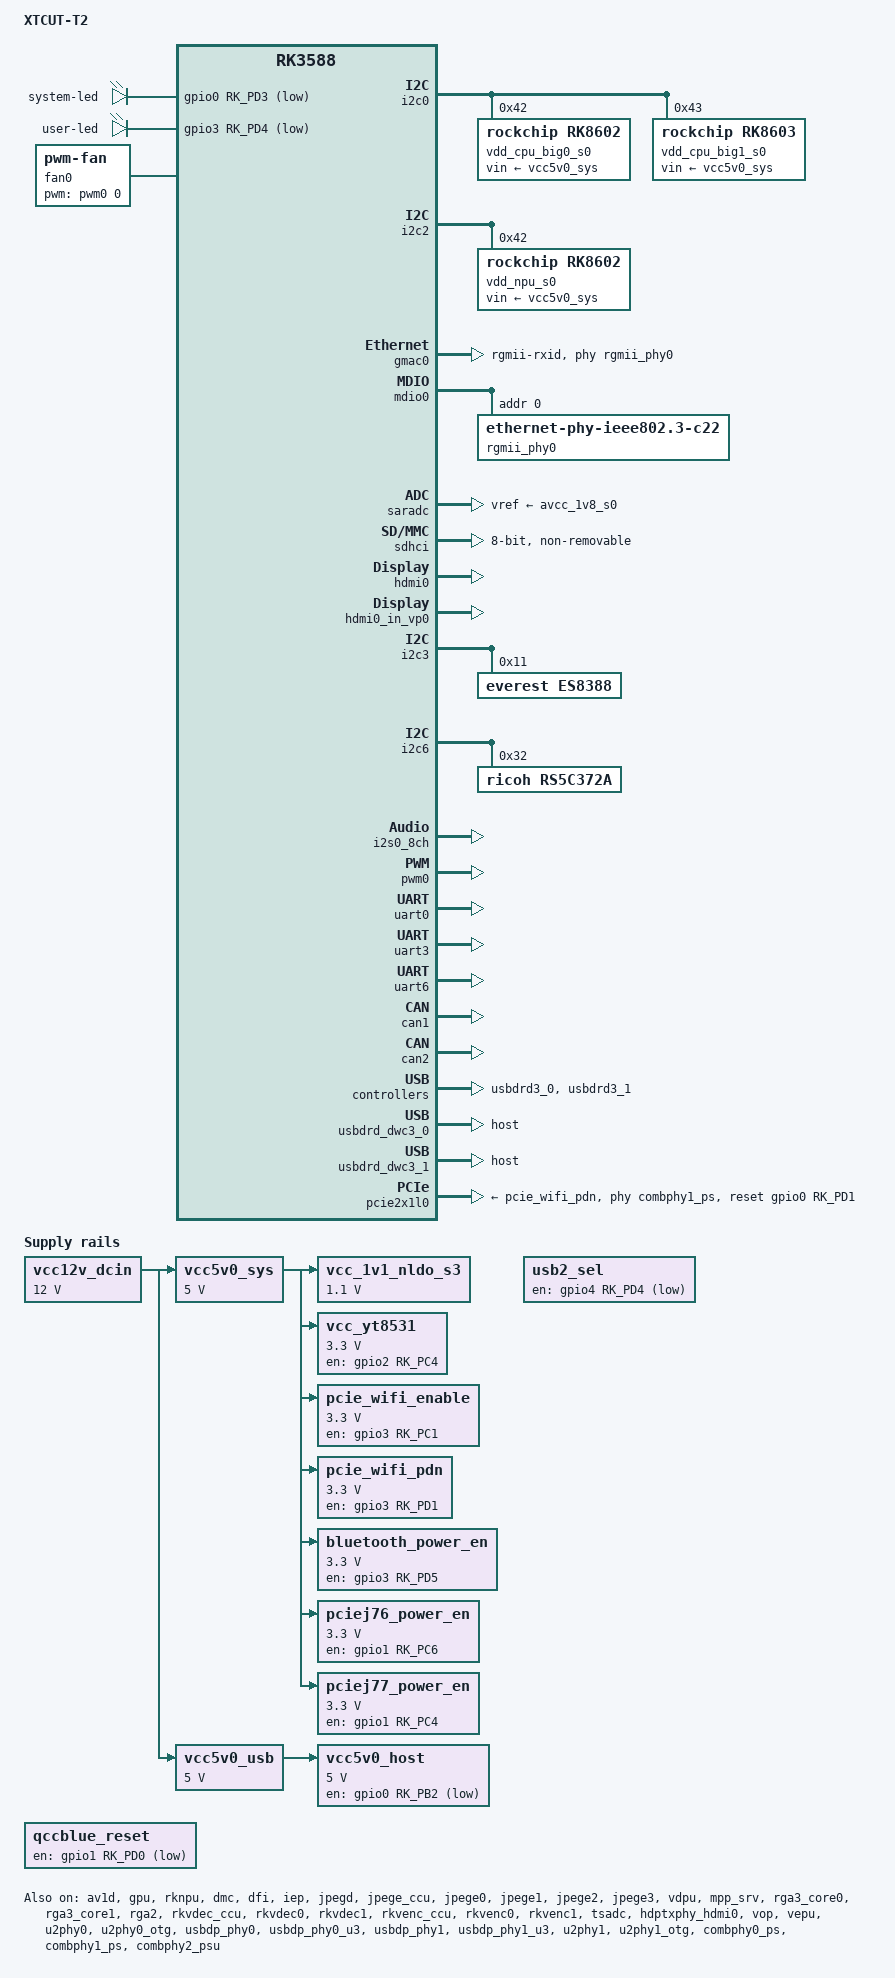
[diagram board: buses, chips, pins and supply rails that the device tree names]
// SPDX-License-Identifier: (GPL-2.0+ OR MIT)
/*
 * Copyright (c) 2021 Rockchip Electronics Co., Ltd.
 * Copyright (c) 2023 Thomas McKahan
 * Modify by dy008
 */

/dts-v1/;

#include <dt-bindings/gpio/gpio.h>
#include <dt-bindings/leds/common.h>
#include <dt-bindings/pwm/pwm.h>
#include <dt-bindings/pinctrl/rockchip.h>
#include <dt-bindings/input/rk-input.h>
#include <dt-bindings/display/drm_mipi_dsi.h>
#include <dt-bindings/display/rockchip_vop.h>
#include <dt-bindings/sensor-dev.h>
#include <dt-bindings/usb/pd.h>
#include "rk3588j.dtsi"
#include "rk3588s.dtsi"
#include "rk3588-rk806-single.dtsi"
#include "rk3588-android.dtsi"

/ {
	model = "XTCUT-T2";
	compatible = "xtcu,t2", "rockchip,rk3588";

	aliases {
		mmc0 = &sdhci;
		mmc1 = &sdmmc;
		eth0 = &gmac0;
		eth1 = &gmac1;
	};

	leds {
		compatible = "gpio-leds";
		pinctrl-names = "default";

		sys_led: led-0 {
			// red led
			gpios = <&gpio0 RK_PD3 GPIO_ACTIVE_LOW>;
			label = "system-led";
			linux,default-trigger = "heartbeat";
			default-state = "on";
			pinctrl-0 = <&sys_led_pin>;
		};

		usr_led: led-1 {
			// red led
			gpios = <&gpio3 RK_PD4 GPIO_ACTIVE_LOW>;
			label = "user-led";
            default-state = "on";
			pinctrl-0 = <&usr_led_pin>;
		};
	};

	vcc12v_dcin: vcc12v-dcin{
		compatible = "regulator-fixed";
		regulator-name = "vcc12v_dcin";
		regulator-always-on;
		regulator-boot-on;
		regulator-min-microvolt = <12000000>;
		regulator-max-microvolt = <12000000>;
	}; // ok

	/* vcc5v0_sys powers peripherals */
	vcc5v0_sys: vcc5v0-sys {
		compatible = "regulator-fixed";
		regulator-name = "vcc5v0_sys";
		regulator-always-on;
		regulator-boot-on;
		regulator-min-microvolt = <5000000>;
		regulator-max-microvolt = <5000000>;
		vin-supply = <&vcc12v_dcin>;
	}; // ok

	vcc5v0_usb: vcc5v0-usb {
		compatible = "regulator-fixed";
		regulator-name = "vcc5v0_usb";
		regulator-always-on;
		regulator-boot-on;
		regulator-min-microvolt = <0x4c4b40>;
		regulator-max-microvolt = <0x4c4b40>;
		vin-supply = <&vcc12v_dcin>;
	};	// ok

	vcc_1v1_nldo_s3: vcc-1v1-nldo-s3 {
		compatible = "regulator-fixed";
		regulator-name = "vcc-1v1-nldo-s3";
		regulator-always-on;
		regulator-boot-on;
		regulator-min-microvolt = <1100000>;
		regulator-max-microvolt = <1100000>;
		vin-supply = <&vcc5v0_sys>;
	};	// ok

    vcc5v0_host: vcc5v0-host {
        compatible ="regulator-fixed";
        regulator-name ="vcc5v0_host";
        regulator-boot-on;
        regulator-always-on;
        regulator-min-microvolt = <5000000>;
        regulator-max-microvolt = <5000000>;
        gpios = <&gpio0 RK_PB2 GPIO_ACTIVE_LOW>;
        vin-supply = <&vcc5v0_usb>;
        pinctrl-names ="default";
        pinctrl-0 = <&vcc5v0_host_en>;
    };

    vcc_yt8531: yt8531-regulator {
		compatible = "regulator-fixed";
		gpios = <&gpio2 RK_PC4 GPIO_ACTIVE_HIGH>;
		pinctrl-names = "default";
		pinctrl-0 = <&yt8531_pwr>;
		regulator-name = "vcc_yt8531";
		regulator-boot-on;
        enable-active-high;
        regulator-always-on;
		regulator-min-microvolt = <3300000>;
		regulator-max-microvolt = <3300000>;
		vin-supply = <&vcc5v0_sys>;
	};

	// AW-XM458 of NXP 88W9098 PCIE_DISABLEn
	pcie_wifi_enable: pcie-wifi-enable-regulator {
		compatible = "regulator-fixed";
		regulator-name = "PCIE_WLAN_ENABLE;";
		gpios = <&gpio3 RK_PC1 GPIO_ACTIVE_HIGH>;
		pinctrl-names = "default";
		pinctrl-0 = <&pcie_wifi_enable_h>;
		regulator-min-microvolt = <3300000>;
		regulator-max-microvolt = <3300000>;
		regulator-boot-on;
		enable-active-high;
		regulator-always-on;
		vin-supply = <&vcc5v0_sys>;		
	};

	// AW-XM458 of NXP 88W9098 PCIE_PDn
	pcie_wifi_pdn: pcie-wifi-pdn-regulator {
		compatible = "regulator-fixed";
		regulator-name = "PCIE_WLAN_PDN";
		gpios = <&gpio3 RK_PD1 GPIO_ACTIVE_HIGH>;
		pinctrl-names = "default";
		pinctrl-0 = <&pcie_wifi_reset_h>;
		regulator-min-microvolt = <3300000>;
		regulator-max-microvolt = <3300000>;
		enable-active-high;
		regulator-boot-on;
		regulator-always-on;
		vin-supply = <&vcc5v0_sys>;		
	};
	
	// Bluetooth of GOC-Q82008W Power control
	bluetooth_power_en: bluetooth-power-en-regulator {
		compatible = "regulator-fixed";
		regulator-name = "BLUETOOTH_POWER_EN";
		gpios = <&gpio3 RK_PD5 GPIO_ACTIVE_HIGH>;
		pinctrl-names = "default";
		pinctrl-0 = <&bluetooth_power_en_h>;
		regulator-min-microvolt = <3300000>;
		regulator-max-microvolt = <3300000>;
		regulator-boot-on;
		enable-active-high;
		regulator-always-on;
		vin-supply = <&vcc5v0_sys>;		
	};

	pciej76_power_en: pciej76-power-en-regulator {
		compatible = "regulator-fixed";
		regulator-name = "PCIEJ76_POWER_EN";
		gpios = <&gpio1 RK_PC6 GPIO_ACTIVE_HIGH>;
		regulator-min-microvolt = <3300000>;
		regulator-max-microvolt = <3300000>;
		regulator-boot-on;
		enable-active-high;
		regulator-always-on;
		vin-supply = <&vcc5v0_sys>;		
	};

	pciej77_power_en: pciej77-power-en-regulator {
		compatible = "regulator-fixed";
		regulator-name = "PCIEJ77_POWER_EN";
		gpios = <&gpio1 RK_PC4 GPIO_ACTIVE_HIGH>;
		regulator-min-microvolt = <3300000>;
		regulator-max-microvolt = <3300000>;
		regulator-boot-on;
		enable-active-high;
		regulator-always-on;
		vin-supply = <&vcc5v0_sys>;		
	};

	usb2_sel: usb2-sel {
		compatible = "regulator-fixed";
		pinctrl-names = "default";
		pinctrl-0 = <&usb2_sel_h>;
		regulator-name = "USB2_SEL";
		gpios = <&gpio4 RK_PD4 GPIO_ACTIVE_LOW>;
		regulator-boot-on;
		regulator-always-on;
	};

	qccblue_reset: qccblue-reset {
		compatible = "regulator-fixed";
		pinctrl-names = "default";
		pinctrl-0 = <&qccblue_reset_h>;
		regulator-name = "QCC BLUETOOTH";
		gpios = <&gpio1 RK_PD0 GPIO_ACTIVE_LOW>;
		regulator-boot-on;
		regulator-always-on;
	};

	/* wireless_bluetooth: wireless-bluetooth {
		compatible = "bluetooth-platdata";
		uart_rts_gpios = <&gpio1 RK_PA2 GPIO_ACTIVE_LOW>;
		pinctrl-names = "default", "rts_gpio";
		pinctrl-0 = <&uart6m1_rtsn>, <&bt_reset_gpio>;
		pinctrl-1 = <&uart6_gpios>;
		BT,reset_gpio = <&gpio1 RK_PD0 GPIO_ACTIVE_HIGH>;
		status = "okay";
	};	// ok */

	wireless_wlan: wireless-wlan {
		compatible = "wlan-platdata";
		wifi_chip_type = "ap6276p";
		status = "disabled";
	};

	hdmi0_sound: hdmi0-sound {
		status = "disabled";
		compatible = "rockchip,hdmi";
		rockchip,mclk-fs = <128>;
		rockchip,card-name = "rockchip-hdmi0";
		rockchip,cpu = <&i2s5_8ch>;
		rockchip,codec = <&hdmi0>;
		rockchip,jack-det;
	};	// ok

	es8388_sound: es8388-sound {
		status = "okay";
		compatible = "rockchip,multicodecs-card";
		rockchip,card-name = "rockchip-es8388";
		keyup-threshold-microvolt = <1800000>;
		poll-interval = <100>;
		rockchip,format = "i2s";
		rockchip,mclk-fs = <256>;
		rockchip,cpu = <&i2s0_8ch>;
		rockchip,codec = <&es8388>;
		rockchip,audio-routing =
			"Headphone", "LOUT1",
			"Headphone", "ROUT1",
			"Headphone", "Headphone Power",
			"Headphone", "Headphone Power",
			"LINPUT1", "Main Mic",
			"LINPUT2", "Main Mic",
			"RINPUT1", "Headset Mic",
			"RINPUT2", "Headset Mic";
	};

	fan0: pwm-fan {
		compatible = "pwm-fan";
		#cooling-cells = <2>;
		cooling-levels = <72 94 117 139 162 184 207 229 255>;
		pwms = <&pwm0 0 10000 0>;
	};
};

&av1d {
	status = "okay";
};

&av1d_mmu {
	status = "okay";
};

&cpu_l0 {
	cpu-supply = <&vdd_cpu_lit_s0>;
	mem-supply = <&vdd_cpu_lit_mem_s0>;
};

&cpu_b0 {
	cpu-supply = <&vdd_cpu_big0_s0>;
	mem-supply = <&vdd_cpu_big0_mem_s0>;
};

&cpu_b2 {
	cpu-supply = <&vdd_cpu_big1_s0>;
	mem-supply = <&vdd_cpu_big1_mem_s0>;
};

&gpu {
	mali-supply = <&vdd_gpu_s0>;
	mem-supply = <&vdd_gpu_mem_s0>;
	upthreshold = <60>;
	downdifferential = <30>;
	status = "okay";
};

&rknpu {
	rknpu-supply = <&vdd_npu_s0>;
	mem-supply = <&vdd_npu_mem_s0>;
	status = "okay";
};

&rknpu_mmu {
	status = "okay";
};


&dmc {
	center-supply = <&vdd_ddr_s0>;
	mem-supply = <&vdd_log_s0>;
	status = "okay";
};

&dfi {
	status = "okay";
};

&i2c0 {
	status = "okay";
	pinctrl-names = "default";
	pinctrl-0 = <&i2c0m2_xfer>;

	vdd_cpu_big0_s0: vdd_cpu_big0_mem_s0: rk8602@42 {
		compatible = "rockchip,rk8602";
		reg = <0x42>;
		vin-supply = <&vcc5v0_sys>;
		regulator-compatible = "rk860x-reg";
		regulator-name = "vdd_cpu_big0_s0";
		regulator-min-microvolt = <550000>;
		regulator-max-microvolt = <1050000>;
		regulator-ramp-delay = <2300>;
		rockchip,suspend-voltage-selector = <1>;
		regulator-boot-on;
		regulator-always-on;
		regulator-state-mem {
			regulator-off-in-suspend;
		};
	};

	vdd_cpu_big1_s0: vdd_cpu_big1_mem_s0: rk8603@43 {
		compatible = "rockchip,rk8603";
		reg = <0x43>;
		vin-supply = <&vcc5v0_sys>;
		regulator-compatible = "rk860x-reg";
		regulator-name = "vdd_cpu_big1_s0";
		regulator-min-microvolt = <550000>;
		regulator-max-microvolt = <1050000>;
		regulator-ramp-delay = <2300>;
		rockchip,suspend-voltage-selector = <1>;
		regulator-boot-on;
		regulator-always-on;
		regulator-state-mem {
			regulator-off-in-suspend;
		};
	};
};	// ok

&i2c2 {
    status = "okay";
	pinctrl-0 = <&i2c2m0_xfer>;

	vdd_npu_s0: vdd_npu_mem_s0: rk8602@42 {
		compatible = "rockchip,rk8602";
		reg = <0x42>;
		vin-supply = <&vcc5v0_sys>;
		regulator-compatible = "rk860x-reg";
		regulator-name = "vdd_npu_s0";
		regulator-min-microvolt = <550000>;
		regulator-max-microvolt = <950000>;
		regulator-ramp-delay = <2300>;
		rockchip,suspend-voltage-selector = <1>;
		regulator-boot-on;
		regulator-always-on;
		regulator-state-mem {
			regulator-off-in-suspend;
		};
	};
};	// ok

&gmac0 {
	/* Use rgmii-rxid mode to disable rx delay inside Soc */
	phy-mode = "rgmii-rxid";
	clock_in_out = "output";
	snps,reset-gpios = <&gpio4 RK_PD3 GPIO_ACTIVE_LOW>;
	snps,reset-active-low;
	/* Reset time is 20ms, 100ms for yt8531sh */
	snps,reset-delays-us = <0 20000 100000>;
	
	pinctrl-names = "default";
	pinctrl-0 = <&gmac0_miim
	&gmac0_tx_bus2
	&gmac0_rx_bus2
	&gmac0_rgmii_clk
	&gmac0_rgmii_bus>;
	
	tx_delay = <0x45>;
	//rx_delay = <0x0>;
	
	phy-handle = <&rgmii_phy0>;
	status = "okay";
};

&mdio0 {
	rgmii_phy0: phy@0 {
		compatible = "ethernet-phy-ieee802.3-c22";
		reg = <0x00>;
	};
};

&gmac1 {
	phy-mode = "rmii";
	clock_in_out = "output";
	snps,reset-gpios = <&gpio3 RK_PB7 GPIO_ACTIVE_LOW>;
	snps,reset-active-low;
	/* Reset time is 20ms, 100ms for IN170N */
	snps,reset-delays-us = <0 20000 100000>;
	
	pinctrl-names = "default";
	pinctrl-0 = <&gmac1_miim
	&gmac1_tx_bus2
	&gmac1_rx_bus2
	&gmac1_clkinout>;
	
	tx_delay = <0x45>;
	rx_delay = <0x4f>;

	status = "disabled";

    fixed-link {
        speed = <100>;
        full-duplex;
    };
};

&iep {
	status = "okay";
};

&iep_mmu {
	status = "okay";
};

&jpegd {
	status = "okay";
};

&jpegd_mmu {
	status = "okay";
};

&jpege_ccu {
	status = "okay";
};

&jpege0 {
	status = "okay";
};

&jpege0_mmu {
	status = "okay";
};

&jpege1 {
	status = "okay";
};

&jpege1_mmu {
	status = "okay";
};

&jpege2 {
	status = "okay";
};

&jpege2_mmu {
	status = "okay";
};

&jpege3 {
	status = "okay";
};

&jpege3_mmu {
	status = "okay";
};

&vdpu {
	status = "okay";
};

&vdpu_mmu {
	status = "okay";
};

&mpp_srv {
	status = "okay";
};

&rga3_core0 {
	status = "okay";
};

&rga3_0_mmu {
	status = "okay";
};

&rga3_core1 {
	status = "okay";
};

&rga3_1_mmu {
	status = "okay";
};

&rga2 {
	status = "okay";
};

&rkvdec_ccu {
	status = "okay";
};

&rkvdec0 {
	status = "okay";
};

&rkvdec0_mmu {
	status = "okay";
};

&rkvdec1 {
	status = "okay";
};

&rkvdec1_mmu {
	status = "okay";
};

&rkvenc_ccu {
	status = "okay";
};

&rkvenc0 {
	status = "okay";
};

&rkvenc0_mmu {
	status = "okay";
};

&rkvenc1 {
	status = "okay";
};

&rkvenc1_mmu {
	status = "okay";
};

&saradc {
	vref-supply = <&avcc_1v8_s0>;
	status = "okay";
};

&sdhci {
	bus-width = <8>;
	no-sdio;
	no-sd;
	non-removable;
	max-frequency = <200000000>;
	mmc-hs400-1_8v;
	mmc-hs400-enhanced-strobe;
	status = "okay";
};

&sdio {
	status = "disabled";
};

&soc_thermal {
	polling-delay = <1000>;
	polling-delay-passive = <2000>;
	trips {
		trip0: trip-point@0 {
			temperature = <45000>;
			hysteresis = <5000>;
			type = "active";
		};
		trip1: trip-point@1 {
			temperature = <50000>;
			hysteresis = <5000>;
			type = "active";
		};
		trip2: trip-point@2 {
			temperature = <55000>;
			hysteresis = <5000>;
			type = "active";
		};
		trip3: trip-point@3 {
			temperature = <60000>;
			hysteresis = <5000>;
			type = "active";
		};
		trip4: trip-point@4 {
			temperature = <65000>;
			hysteresis = <5000>;
			type = "active";
		};
		trip5: trip-point@5 {
			temperature = <70000>;
			hysteresis = <5000>;
			type = "active";
		};
		trip6: trip-point@6 {
			temperature = <75000>;
			hysteresis = <5000>;
			type = "active";
		};
		pcritical: trip-point@7 {
			temperature = <80000>;
			hysteresis = <1000>;
			type = "active";
		};
	};
	cooling-maps {
		map0 {
			trip = <&trip0>;
			cooling-device = <&fan0 0 1>;
			contribution = <1024>;
		};
		map1 {
			trip = <&trip1>;
			cooling-device = <&fan0 1 2>;
			contribution = <1024>;
		};
		map2 {
			trip = <&trip2>;
			cooling-device = <&fan0 2 3>;
			contribution = <1024>;
		};
		map3 {
			trip = <&trip3>;
			cooling-device = <&fan0 3 4>;
			contribution = <1024>;
		};
		map4 {
			trip = <&trip4>;
			cooling-device = <&fan0 4 5>;
			contribution = <1024>;
		};
		map5 {
			trip = <&trip5>;
			cooling-device = <&fan0 5 6>;
			contribution = <1024>;
		};
		map6 {
			trip = <&trip6>;
			cooling-device = <&fan0 6 7>;
			contribution = <1024>;
		};
		map7 {
			trip = <&pcritical>;
			cooling-device = <&fan0 7 8>;
			contribution = <1024>;
		};
	};
};

&tsadc {
	status = "okay";
};

&display_subsystem {
	clocks = <&hdptxphy_hdmi0>;
	clock-names =  "hdmi0_phy_pll";

	route {
		route_hdmi0: route-hdmi0 {
			status = "okay";
			logo,uboot = "boot.bmp";
			logo,kernel = "boot-desktop.png";
			logo,mode = "center";
			charge_logo,mode = "center";
			connect = <&vp0_out_hdmi0>;
		};
	};
};

&hdptxphy_hdmi0 {
	status = "okay";
};

&hdmi0 {
	status = "okay";
	cec-enable = "true";
	enable-gpios = <&gpio0 RK_PC6 GPIO_ACTIVE_HIGH>;
	pinctrl-names = "default";
	pinctrl-0 = <&hdmim0_tx0_cec &hdmim0_tx0_hpd &hdmim1_tx0_scl &hdmim1_tx0_sda>;
};

&hdmi0_in_vp0 {
	status = "okay";
};

&vop {
	vop-supply = <&vdd_log_s0>;
	support-multi-area;
	status = "okay";
};

&vop_mmu {
	status = "okay";
};

&vepu {
	status = "okay";
};

/* vp0 & vp1 splice for 8K output */
&vp0 {
    rockchip,plane-mask = <(1 << ROCKCHIP_VOP2_CLUSTER0 | 1 << ROCKCHIP_VOP2_ESMART0)>;
    rockchip,primary-plane = <ROCKCHIP_VOP2_ESMART0>;
};

&vp1 {
    rockchip,plane-mask = <(1 << ROCKCHIP_VOP2_CLUSTER1 | 1 << ROCKCHIP_VOP2_ESMART1)>;
    rockchip,primary-plane = <ROCKCHIP_VOP2_ESMART1>;
};

&vp2 {
    rockchip,plane-mask = <(1 << ROCKCHIP_VOP2_CLUSTER2 | 1 << ROCKCHIP_VOP2_ESMART2)>;
    rockchip,primary-plane = <ROCKCHIP_VOP2_ESMART2>;
};

&vp3 {
    rockchip,plane-mask = <(1 << ROCKCHIP_VOP2_CLUSTER3 | 1 << ROCKCHIP_VOP2_ESMART3)>;
    rockchip,primary-plane = <ROCKCHIP_VOP2_ESMART3>;
};

&i2c3 {
    status = "okay";
	pinctrl-0 = <&i2c3m0_xfer>;

	es8388: es8388@11 {
		status = "okay";
		#sound-dai-cells = <0>;
		compatible = "everest,es8388", "everest,es8323";
		reg = <0x11>;
		clocks = <&mclkout_i2s0>;
		clock-names = "mclk";
		assigned-clocks = <&mclkout_i2s0>;
		assigned-clock-rates = <12288000>;
		pinctrl-names = "default";
		pinctrl-0 = <&i2s0_mclk>;
	};
};

&i2c6 {
	status = "okay";
	pinctrl-0 = <&i2c6m0_xfer>;

	rs5c372a: rs5c372a@32 {
		//bl5372t compatible rs5c372a
		compatible = "ricoh,rs5c372a";
		reg = <0x32>;
		//rtc_alarm_irq_pin = <&gpio0 RK_PC4 IRQ_TYPE_LEVEL_LOW>;
	};
};

&i2s0_8ch {
	status = "okay";
	rockchip,clk-trcm = <1>;
	pinctrl-0 = <&i2s0_lrck
			 &i2s0_sclk
			 &i2s0_sdi0
			 &i2s0_sdo0>;
};

&rockchip_suspend {
	compatible = "rockchip,pm-rk3588";
	status = "okay";
	rockchip,sleep-debug-en = <1>;
	rockchip,sleep-mode-config = <
		(0
		| RKPM_SLP_ARMOFF_DDRPD
		)
	>;
	rockchip,wakeup-config = <
		(0
		| RKPM_GPIO_WKUP_EN
		| RKPM_USB_WKUP_EN
		)
	>;
};

&avdd_0v75_s0 {
	regulator-state-mem {
		regulator-on-in-suspend;
		regulator-suspend-microvolt = <837500>;
	};
};

&avcc_1v8_s0 {
	regulator-state-mem {
		regulator-on-in-suspend;
		regulator-suspend-microvolt = <1800000>;
	};
};

&vcc_1v8_s0 {
	regulator-state-mem {
		regulator-on-in-suspend;
		regulator-suspend-microvolt = <1800000>;
	};
};

&vcc_3v3_s0 {
	regulator-state-mem {
		regulator-on-in-suspend;
		regulator-suspend-microvolt = <3300000>;
	};
};

&vdd_log_s0 {
	regulator-state-mem {
		regulator-on-in-suspend;
		regulator-suspend-microvolt = <750000>;
	};
};

&vdd_ddr_pll_s0 {
	regulator-state-mem {
		regulator-on-in-suspend;
		regulator-suspend-microvolt = <850000>;
	};
};

// GPIO1_D2
&pwm0 {
	pinctrl-0 = <&pwm0m1_pins>;
	status = "okay";
};

&uart0 {
	status = "okay";
	pinctrl-0 = <&uart0m2_xfer>;
};

&uart3 {
	status = "okay";
	pinctrl-0 = <&uart3m2_xfer>;
};

&uart6 {	
	// Bluetooth UART for GOC-Q82008W
	status = "okay";
	pinctrl-0 = <&uart6m1_xfer>;
};

&can1 {
	pinctrl-0 = <&can1m1_pins>;
	status = "okay";
};

&can2 {
	pinctrl-0 = <&can2m0_pins>;
	status = "okay";
};

// USB3.0 OTG1(DWC3/xHCI) TYPE-C0
&usbdrd3_0{
	status = "okay";
};

&usbdrd_dwc3_0 {	
	status = "okay";
	dr_mode = "host";
};


&u2phy0 {
    status = "okay";
};

&u2phy0_otg {
	status = "okay";
	phy-supply = <&vcc5v0_host>;
};

&usbdp_phy0 {
	status = "okay";
	rockchip,dp-lane-mux = <2 3>;
};

&usbdp_phy0_u3 {
	status = "okay";
};

&usbdp_phy0_dp {
	status = "disabled";
};

// USB3.0 OTG1(DWC3/xHCI) TYPE-C1
&usbdrd3_1{
	status = "okay";
};

&usbdrd_dwc3_1 {
	status = "okay";
	dr_mode = "host";
	maximum-speed = "high-speed";
};
// USB3.0/DP Combo PHY1
&usbdp_phy1 {
	status = "okay";
	rockchip,dp-lane-mux = <0 1 2 3>;
};

&usbdp_phy1_u3 {
	maximum-speed = "high-speed";
	status = "okay";
};

&usbdp_phy1_dp {
	status = "disabled";
};

// USB2.0 PHY1 for LAN9500A smsc95xx USB 2.0 Ethernet
&u2phy1 {
    status = "okay";
};

&u2phy1_otg {
	status = "okay";
};

// # USB3.1 HOST2 Controller
&usbhost3_0 {
    status = "disabled";
};

&usbhost_dwc3_0 {
    dr_mode = "host";
    status = "disabled";
};

//USB3.1/SATA/PCIe Combo PHY0
&combphy0_ps {
	status = "okay";	
};

//USB3.1/SATA/PCIe Combo PHY1
&combphy1_ps {
	status = "okay";
};

// combUSB3.1
&combphy2_psu {
	status = "okay";
};

// #USB2.0 HOST0/1 Controller
&usb_host0_ehci {
    status = "disabled";
};

&usb_host0_ohci {
    status = "disabled";
};

&usb_host1_ehci {
    status = "disabled";
};

&usb_host1_ohci {
    status = "disabled";
};

// #USB2.0 PHY2/3
&u2phy2 {
	status = "disabled";
};

&u2phy2_host {
   status = "disabled";
};

&u2phy3 {
   status = "disabled";
};

&u2phy3_host {
	//phy-supply = <&vcc5v0_host>;
	status = "disabled";
};

&pcie2x1l0 {
	phys = <&combphy1_ps PHY_TYPE_PCIE>;
    reset-gpios = <&gpio0 RK_PD1 GPIO_ACTIVE_HIGH>;
	vpcie3v3-supply = <&pcie_wifi_pdn>;
    status = "okay";
};

/* &pcie2x1l1 {
    phys = <&combphy2_psu PHY_TYPE_PCIE>;
    reset-gpios = <&gpio3 RK_PD1 GPIO_ACTIVE_LOW>;
	vpcie3v3-supply = <&pcie_wifi_pdn>;
    status = "okay";
}; */

/* &pcie2x1l2 {	// wifi
    reset-gpios = <&gpio3 RK_PD1 GPIO_ACTIVE_LOW>;
	//rockchip,skip-scan-in-resume;
	//supports-clkreq;
	vpcie3v3-supply = <&pcie_wifi_pdn>;
    status = "okay";	
}; */

&pinctrl {
	gpio-leds {
		sys_led_pin: sys-led-pin {
			rockchip,pins = <0 RK_PD3 RK_FUNC_GPIO &pcfg_pull_none>;
		};

		usr_led_pin: usr-led-pin {
			rockchip,pins = <3 RK_PD4 RK_FUNC_GPIO &pcfg_pull_none>;
		};
	};

    gpio-usbs {
        vcc5v0_host_en: vcc5v0-host-en {
			rockchip,pins = <0 RK_PB2 RK_FUNC_GPIO &pcfg_pull_none>;
		};

    };

	wireless-bluetooth {
			uart6_gpios: uart6-gpios {
				rockchip,pins = <1 RK_PA2 RK_FUNC_GPIO &pcfg_pull_none>;
			};

			bt_reset_gpio: bt-reset-gpio {
				rockchip,pins = <1 RK_PD0 RK_FUNC_GPIO &pcfg_pull_none>;
			};
		};

	gpio-phy_power {
            
            yt8531_pwr: yt8531-pwr {
				rockchip,pins = <2 RK_PC4 RK_FUNC_GPIO &pcfg_pull_none>;
			};

			pcie_wifi_enable_h: pcie-wifi-enable-h {
				rockchip,pins = <3 RK_PC1 RK_FUNC_GPIO &pcfg_pull_none>;
			};

			pcie_wifi_pdn_h: pcie-wifi-pdn-h {
				rockchip,pins = <0 RK_PB0 RK_FUNC_GPIO &pcfg_pull_up>;
			};

			pcie_wifi_reset_h: pcie-wifi-reset-h {
				rockchip,pins = <3 RK_PD1 RK_FUNC_GPIO &pcfg_pull_up>;
			};

			bluetooth_power_en_h: bluetooth-power-en-h {
				rockchip,pins = <3 RK_PD5 RK_FUNC_GPIO &pcfg_pull_none>;
			};

			qccblue_reset_h: qccblue-reset-h {
				rockchip,pins = <1 RK_PD0 RK_FUNC_GPIO &pcfg_pull_none>;
			};

			usb2_sel_h: usb2-sel-h {
				rockchip,pins = <4 RK_PD4 RK_FUNC_GPIO &pcfg_pull_none>;
			};
	};
};

&gpio0 {
	gpio-line-names =
		/* GPIO0_A0-A3 */
		"", "", "", "",
		/* GPIO0_A4-A7 */
		"", "", "", "",

		/* GPIO0_B0-B3 */
		"", "", "", "",
		/* GPIO0_B4-B7 */
		"", "PIN_8", "PIN_10", "",

		/* GPIO0_C0-C3 */
		"", "", "", "",
		/* GPIO0_C4-C7 */
		"", "", "", "",

		/* GPIO0_D0-D3 */
		"", "", "", "",
		/* GPIO0_D4-D7 */
		"", "", "", "";
};

&gpio1 {
	gpio-line-names =
		/* GPIO1_A0-A3 */
		"", "", "", "",
		/* GPIO1_A4-A7 */
		"", "", "", "",

		/* GPIO1_B0-B3 */
		"", "PIN_21", "PIN_19", "PIN_23",
		/* GPIO1_B4-B7 */
		"PIN_24", "PIN_26", "", "PIN_31",

		/* GPIO1_C0-C3 */
		"", "", "", "",
		/* GPIO1_C4-C7 */
		"", "", "", "",

		/* GPIO1_D0-D3 */
		"", "", "", "",
		/* GPIO1_D4-D7 */
		"", "", "", "PIN_29";
};

&gpio2 {
	gpio-line-names =
		/* GPIO2_A0-A3 */
		"", "", "", "",
		/* GPIO2_A4-A7 */
		"", "", "", "",

		/* GPIO2_B0-B3 */
		"", "", "", "",
		/* GPIO2_B4-B7 */
		"", "", "", "",

		/* GPIO2_C0-C3 */
		"", "", "", "",
		/* GPIO2_C4-C7 */
		"", "", "", "",

		/* GPIO2_D0-D3 */
		"", "", "", "",
		/* GPIO2_D4-D7 */
		"", "", "", "";
};

&gpio3 {
	gpio-line-names =
		/* GPIO3_A0-A3 */
		"", "", "", "",
		/* GPIO3_A4-A7 */
		"PIN_16", "", "", "PIN_33",

		/* GPIO3_B0-B3 */
		"", "PIN_36", "PIN_38", "PIN_40",
		/* GPIO3_B4-B7 */
		"", "PIN_12", "PIN_35", "PIN_13",

		/* GPIO3_C0-C3 */
		"PIN_15", "PIN_11", "PIN_32", "PIN_7",
		/* GPIO3_C4-C7 */
		"", "", "", "",

		/* GPIO3_D0-D3 */
		"", "", "", "",
		/* GPIO3_D4-D7 */
		"", "", "", "";
};

&gpio4 {
	gpio-line-names =
		/* GPIO4_A0-A3 */
		"", "", "", "",
		/* GPIO4_A4-A7 */
		"", "", "", "",

		/* GPIO4_B0-B3 */
		"", "", "PIN_5", "PIN_3",
		/* GPIO4_B4-B7 */
		"", "", "", "",

		/* GPIO4_C0-C3 */
		"", "", "", "",
		/* GPIO4_C4-C7 */
		"PIN_18", "PIN_28", "PIN_27", "",

		/* GPIO4_D0-D3 */
		"", "", "", "",
		/* GPIO4_D4-D7 */
		"", "", "", "";
};
